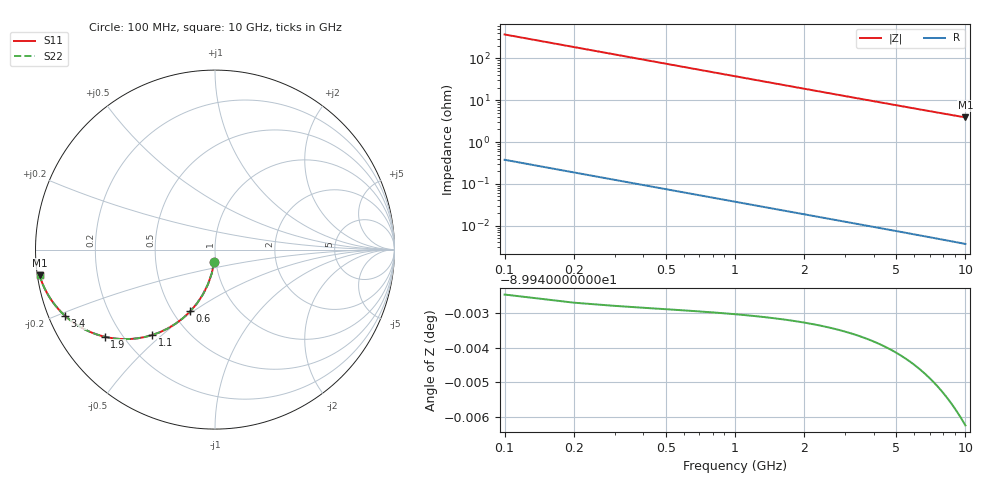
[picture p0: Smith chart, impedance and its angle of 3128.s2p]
# Hz S RI R 50.00
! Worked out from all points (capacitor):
!   100 points, 100 MHz to 10 GHz, reference 50 ohm
!   read as one part in shunt: C = 4.24 pF near 100 MHz
!   lowest |Z| = 3.89 ohm at 10 GHz (marker M1)
!   S11 on the Smith chart (normalised r, x): 100 MHz: 0.98, -0.13; 600 MHz: 0.61, -0.49; 1.1 GHz: 0.32, -0.46; 1.9 GHz: 0.14, -0.34; 3.4 GHz: 0.05, -0.21; 10 GHz: 0.01, -0.07
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1e8  -0.00448 -0.0663  0.9955 -0.0664  0.9955 -0.0664  -0.00448 -0.0663
2e8  -0.0176 -0.1309  0.9824 -0.131  0.9824 -0.131  -0.0176 -0.1309
3e8  -0.0386 -0.1921  0.9614 -0.1923  0.9614 -0.1923  -0.0386 -0.1921
4e8  -0.0665 -0.2486  0.9334 -0.2489  0.9334 -0.2489  -0.0665 -0.2486
5e8  -0.1001 -0.2995  0.8999 -0.2999  0.8999 -0.2999  -0.1001 -0.2995
6e8  -0.138 -0.3441  0.862 -0.3446  0.862 -0.3446  -0.138 -0.3441
7e8  -0.1788 -0.3824  0.8212 -0.383  0.8212 -0.383  -0.1788 -0.3824
8e8  -0.2212 -0.4142  0.7788 -0.4149  0.7788 -0.4149  -0.2212 -0.4142
9e8  -0.2643 -0.4401  0.7357 -0.4409  0.7357 -0.4409  -0.2643 -0.4401
1.1e9  -0.3489 -0.4757  0.6511 -0.4766  0.6511 -0.4766  -0.3489 -0.4757
1.4e9  -0.4642 -0.4976  0.5358 -0.4988  0.5358 -0.4988  -0.4642 -0.4976
1.8e9  -0.5882 -0.4909  0.4118 -0.4924  0.4118 -0.4924  -0.5882 -0.4909
1.9e9  -0.614 -0.4855  0.386 -0.4872  0.386 -0.4872  -0.614 -0.4855
2.2e9  -0.6804 -0.4649  0.3196 -0.4668  0.3196 -0.4668  -0.6804 -0.4649
2.6e9  -0.7479 -0.4326  0.2521 -0.4349  0.2521 -0.4349  -0.7479 -0.4326
3e9  -0.7976 -0.4  0.2024 -0.4026  0.2024 -0.4026  -0.7976 -0.4
3.4e9  -0.8348 -0.3694  0.1652 -0.3724  0.1652 -0.3724  -0.8348 -0.3694
4.2e9  -0.8849 -0.3168  0.1151 -0.3205  0.1151 -0.3205  -0.8849 -0.3168
5.1e9  -0.9187 -0.2704  0.0812 -0.275  0.0812 -0.275  -0.9187 -0.2704
6.7e9  -0.9511 -0.212  0.0488 -0.218  0.0488 -0.218  -0.9511 -0.212
8.4e9  -0.9684 -0.1707  0.0316 -0.1783  0.0316 -0.1783  -0.9684 -0.1707
1e10  -0.9775 -0.1431  0.0224 -0.1522  0.0224 -0.1522  -0.9775 -0.1431
